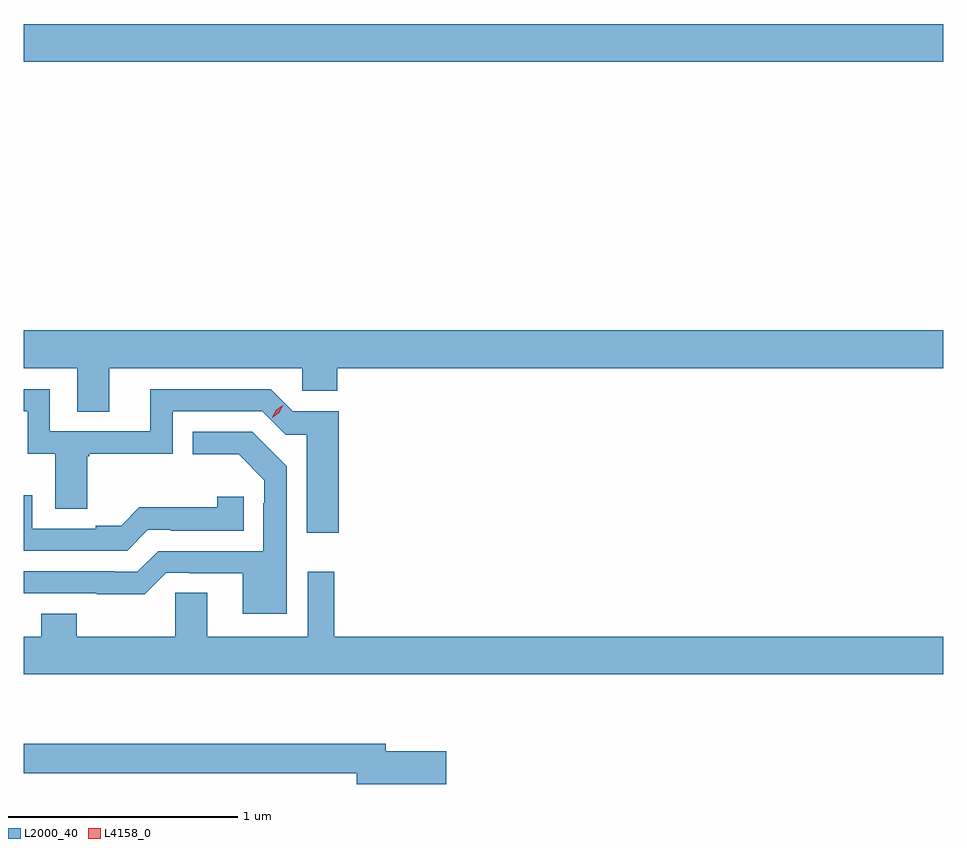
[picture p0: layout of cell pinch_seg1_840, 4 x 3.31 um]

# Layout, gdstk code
import gdstk
lib = gdstk.Library(unit=1e-6, precision=1e-09)
def R(c, l, rs):  # rectangles x0, y0, x1, y1
    for r in rs: c.add(gdstk.rectangle(r[:2], r[2:], *l))
def P(c, l, *ps):  # polygons
    for p in ps: c.add(gdstk.Polygon(p, *l))
L2000_40 = (2000, 40)
L4158_0 = (4158, 0)

pinch_seg1_840 = lib.new_cell('pinch_seg1_840')
R(pinch_seg1_840, L2000_40, [(433.626,521.096,437.626,521.26)])
P(pinch_seg1_840, L2000_40, [(433.999,519.764),(434.838,519.764),(434.838,519.666),(434.99,519.666),(434.99,519.764),(437.626,519.764),(437.626,519.928),(433.626,519.928),(433.626,519.764),(433.859,519.764),(433.859,519.574),(433.999,519.574)],
  [(434.996,519.576),(434.796,519.576),(434.7,519.672),(434.177,519.672),(434.177,519.489),(433.74,519.489),(433.74,519.672),(433.626,519.672),(433.626,519.576),(433.644,519.576),(433.644,519.392),(433.763,519.392),(433.763,519.151),(433.903,519.151),(433.903,519.381),(433.911,519.381),(433.911,519.391),(434.274,519.391),(434.274,519.576),(434.664,519.576),(434.766,519.474),(434.858,519.474),(434.858,519.048),(434.996,519.048)],
  [(434.77,519.336),(434.62,519.486),(434.361,519.486),(434.361,519.389),(434.561,519.389),(434.673,519.276),(434.673,519.176),(434.669,519.176),(434.669,518.967),(434.211,518.967),(434.121,518.877),(434.021,518.877),(434.021,518.88),(433.626,518.88),(433.626,518.784),(433.945,518.784),(433.945,518.78),(434.153,518.78),(434.247,518.874),(434.347,518.874),(434.347,518.871),(434.579,518.871),(434.579,518.696),(434.77,518.696)],
  [(434.166,519.06),(434.266,519.06),(434.266,519.057),(434.584,519.057),(434.584,519.205),(434.468,519.205),(434.468,519.158),(434.13,519.158),(434.05,519.078),(433.94,519.078),(433.94,519.066),(433.663,519.066),(433.663,519.211),(433.626,519.211),(433.626,518.97),(434.076,518.97)],
  [(437.626,518.596),(434.978,518.596),(434.978,518.878),(434.862,518.878),(434.862,518.596),(434.425,518.596),(434.425,518.786),(434.286,518.786),(434.286,518.596),(433.857,518.596),(433.857,518.695),(433.702,518.695),(433.702,518.596),(433.626,518.596),(433.626,518.432),(437.626,518.432)],
  [(435.463,518.097),(435.202,518.097),(435.202,518.131),(433.626,518.131),(433.626,518.002),(435.074,518.002),(435.074,517.955),(435.463,517.955)])
P(pinch_seg1_840, L4158_0, [(434.707,519.547),(434.707,519.548),(434.722,519.581),(434.752,519.603),(434.752,519.603),(434.752,519.602),(434.737,519.569),(434.707,519.547)])

lib.write_gds('pinch_seg1_840.gds')
